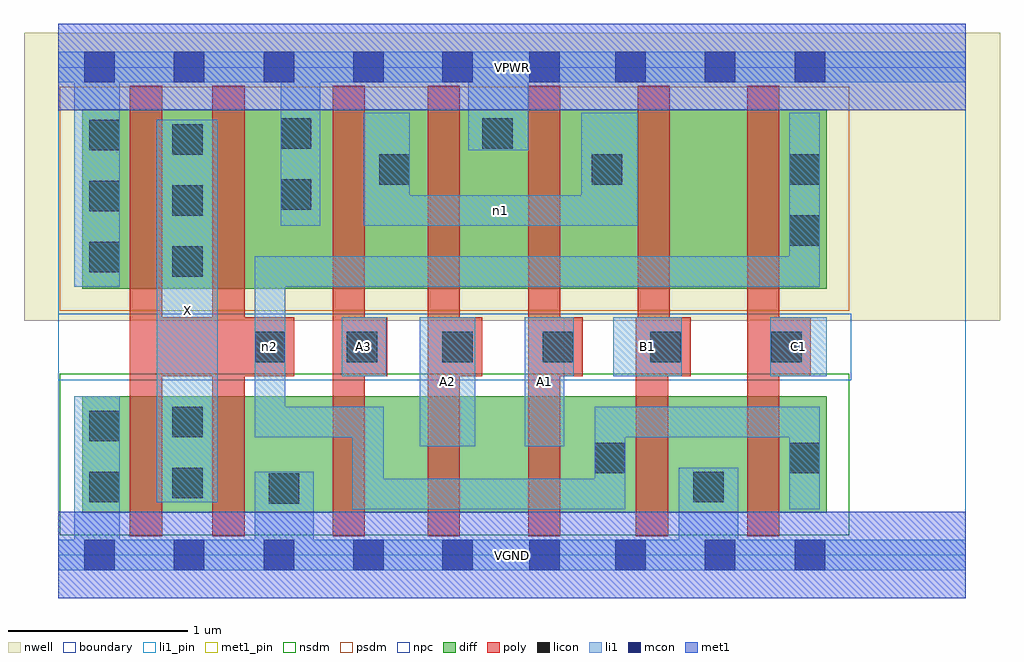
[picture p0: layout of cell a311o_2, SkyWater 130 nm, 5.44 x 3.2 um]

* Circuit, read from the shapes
.subckt a311o_2 A1 A2 A3 B1 C1 VGND VPWR X n1 n2
XM1 X n2 VGND VSUBS sky130_fd_pr__nfet_01v8 w=0.65 l=0.18 m=2
XM2 n3 A3 VGND VSUBS sky130_fd_pr__nfet_01v8 w=0.65 l=0.18
XM3 n4 A2 n3 VSUBS sky130_fd_pr__nfet_01v8 w=0.65 l=0.18
XM4 n2 A1 n4 VSUBS sky130_fd_pr__nfet_01v8 w=0.65 l=0.18
XM5 VGND B1 n2 VSUBS sky130_fd_pr__nfet_01v8 w=0.65 l=0.18
XM6 n2 C1 VGND VSUBS sky130_fd_pr__nfet_01v8 w=0.65 l=0.18
XM7 X n2 VPWR n5 sky130_fd_pr__pfet_01v8 w=1 l=0.18 m=2
XM8 n1 A3 VPWR n5 sky130_fd_pr__pfet_01v8 w=1 l=0.18
XM9 VPWR A2 n1 n5 sky130_fd_pr__pfet_01v8 w=1 l=0.18
XM10 n1 A1 VPWR n5 sky130_fd_pr__pfet_01v8 w=1 l=0.18
XM11 n6 B1 n1 n5 sky130_fd_pr__pfet_01v8 w=1 l=0.18
XM12 n2 C1 n6 n5 sky130_fd_pr__pfet_01v8 w=1 l=0.18
.ends

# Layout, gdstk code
import gdstk
lib = gdstk.Library(unit=1e-6, precision=1e-09)
def R(c, l, rs):  # rectangles x0, y0, x1, y1
    for r in rs: c.add(gdstk.rectangle(r[:2], r[2:], *l))
def A(c, l, x, y, w, h, nx, ny, dx, dy):  # array of equal rectangles
    R(c, l, [(x+i*dx, y+j*dy, x+i*dx+w, y+j*dy+h) for i in range(nx) for j in range(ny)])
nwell = (64, 20)
diff = (65, 20)
poly = (66, 20)
licon = (66, 44)
li1_pin = (67, 16)
li1 = (67, 20)
mcon = (67, 44)
met1_pin = (68, 16)
met1 = (68, 20)
nsdm = (93, 44)
psdm = (94, 20)
npc = (95, 20)
boundary = (235, 4)

a311o_2 = lib.new_cell('a311o_2')
R(a311o_2, nwell, [(-0.19,1.305,5.25,2.91), (0,1.305,5.06,2.91)])
R(a311o_2, diff, [(0.135,0.235,4.285,0.885), (0.135,1.485,4.285,2.485)])
R(a311o_2, poly, [(0.4,0.105,0.58,2.615), (0.86,0.105,1.04,2.615), (1.53,0.105,1.71,2.615), (2.06,0.105,2.24,2.615), (2.62,0.105,2.8,2.615), (3.22,0.105,3.4,1.325), (3.84,0.105,4.02,2.615), (0.4,0.995,1.315,1.325), (1.53,0.995,1.835,1.325), (2.06,0.995,2.365,1.325), (2.62,0.995,2.925,1.325), (3.22,0.995,3.525,1.325), (3.23,0.995,3.41,2.615), (3.84,0.995,4.195,1.325)])
A(a311o_2, licon, 0.635, 1.55, 0.17, 0.17, 1, 3, 0, 0.34)
A(a311o_2, licon, 0.175, 1.575, 0.17, 0.17, 1, 3, 0, 0.34)
R(a311o_2, licon, [(1.175,0.285,1.345,0.455), (0.175,0.295,0.345,0.465), (3.54,0.295,3.71,0.465), (0.635,0.315,0.805,0.485), (2.99,0.455,3.16,0.625), (4.075,0.455,4.245,0.625), (0.175,0.635,0.345,0.805), (0.635,0.655,0.805,0.825), (1.095,1.075,1.265,1.245), (1.61,1.075,1.78,1.245), (2.14,1.075,2.31,1.245), (2.7,1.075,2.87,1.245), (3.3,1.075,3.47,1.245), (3.975,1.075,4.145,1.245), (4.075,1.725,4.245,1.895), (1.24,1.925,1.41,2.095), (1.79,2.065,1.96,2.235), (2.975,2.065,3.145,2.235), (4.075,2.065,4.245,2.235), (1.24,2.265,1.41,2.435), (2.365,2.265,2.535,2.435)])
R(a311o_2, li1_pin, [(0.55,0.295,0.89,2.425), (2.015,0.605,2.325,1.325), (2.6,0.605,2.82,1.325), (1.58,0.995,1.83,1.325), (3.095,0.995,3.475,1.325), (3.97,0.995,4.285,1.325)])
R(a311o_2, li1, [(0,-0.085,5.06,0.085), (0.09,-0.085,0.345,0.885), (1.095,-0.085,1.425,0.465), (3.46,-0.085,3.79,0.485), (1.64,0.255,3.16,0.425), (1.64,0.255,1.815,0.825), (2.99,0.255,3.16,0.825), (4.075,0.255,4.245,0.825), (0.55,0.295,0.89,2.425), (2.015,0.605,2.325,1.325), (2.6,0.605,2.82,1.325), (1.095,0.655,1.265,1.665), (1.095,0.655,1.815,0.825), (2.99,0.655,4.245,0.825), (1.58,0.995,1.83,1.325), (2.6,0.995,2.875,1.325), (3.095,0.995,3.475,1.325), (3.97,0.995,4.285,1.325), (0.09,1.495,0.345,2.805), (1.095,1.495,4.245,1.665), (4.075,1.495,4.245,2.465), (1.24,1.835,1.46,2.805), (1.705,1.835,3.23,2.005), (1.705,1.835,1.96,2.465), (2.915,1.835,3.23,2.465), (2.285,2.255,2.62,2.805), (0,2.635,5.06,2.805)])
A(a311o_2, mcon, 0.145, -0.085, 0.17, 0.17, 4, 2, 0.5, 2.72)
A(a311o_2, mcon, 3.105, -0.085, 0.17, 0.17, 3, 2, 0.5, 2.72)
R(a311o_2, mcon, [(2.14,-0.085,2.31,0.085), (2.625,-0.085,2.795,0.085), (2.14,2.635,2.31,2.805), (2.625,2.635,2.795,2.805)])
R(a311o_2, met1_pin, [(0,-0.24,5.06,0.24), (0,2.48,5.06,2.96)])
R(a311o_2, met1, [(0,-0.24,5.06,0.24), (0,2.48,5.06,2.96)])
R(a311o_2, nsdm, [(0.01,0.11,4.41,1.01)])
R(a311o_2, psdm, [(0.01,1.36,4.41,2.61)])
R(a311o_2, npc, [(0,0.975,4.42,1.345)])
R(a311o_2, boundary, [(0,0,5.06,2.72)])
a311o_2.add(gdstk.Label('A1', (2.71,0.965), layer=67, texttype=5))
a311o_2.add(gdstk.Label('A2', (2.17,0.965), layer=67, texttype=5))
a311o_2.add(gdstk.Label('A3', (1.705,1.16), layer=67, texttype=5))
a311o_2.add(gdstk.Label('B1', (3.285,1.16), layer=67, texttype=5))
a311o_2.add(gdstk.Label('C1', (4.127,1.16), layer=67, texttype=5))
a311o_2.add(gdstk.Label('X', (0.72,1.36), layer=67, texttype=5))
a311o_2.add(gdstk.Label('n1', (2.467,1.92), layer=67, texttype=5))
a311o_2.add(gdstk.Label('n2', (1.18,1.16), layer=67, texttype=5))
a311o_2.add(gdstk.Label('VPWR', (2.53,2.72), layer=68, texttype=5))
a311o_2.add(gdstk.Label('VGND', (2.53,0), layer=68, texttype=5))
a311o_2.add(gdstk.Label('A1', (2.71,0.965), layer=67, texttype=16))
a311o_2.add(gdstk.Label('A2', (2.17,0.965), layer=67, texttype=16))
a311o_2.add(gdstk.Label('A3', (1.705,1.16), layer=67, texttype=16))
a311o_2.add(gdstk.Label('B1', (3.285,1.16), layer=67, texttype=16))
a311o_2.add(gdstk.Label('C1', (4.127,1.16), layer=67, texttype=16))
a311o_2.add(gdstk.Label('X', (0.72,1.36), layer=67, texttype=16))
a311o_2.add(gdstk.Label('VPWR', (2.53,2.72), layer=68, texttype=16))
a311o_2.add(gdstk.Label('VGND', (2.53,0), layer=68, texttype=16))

lib.write_gds('a311o_2.gds')
